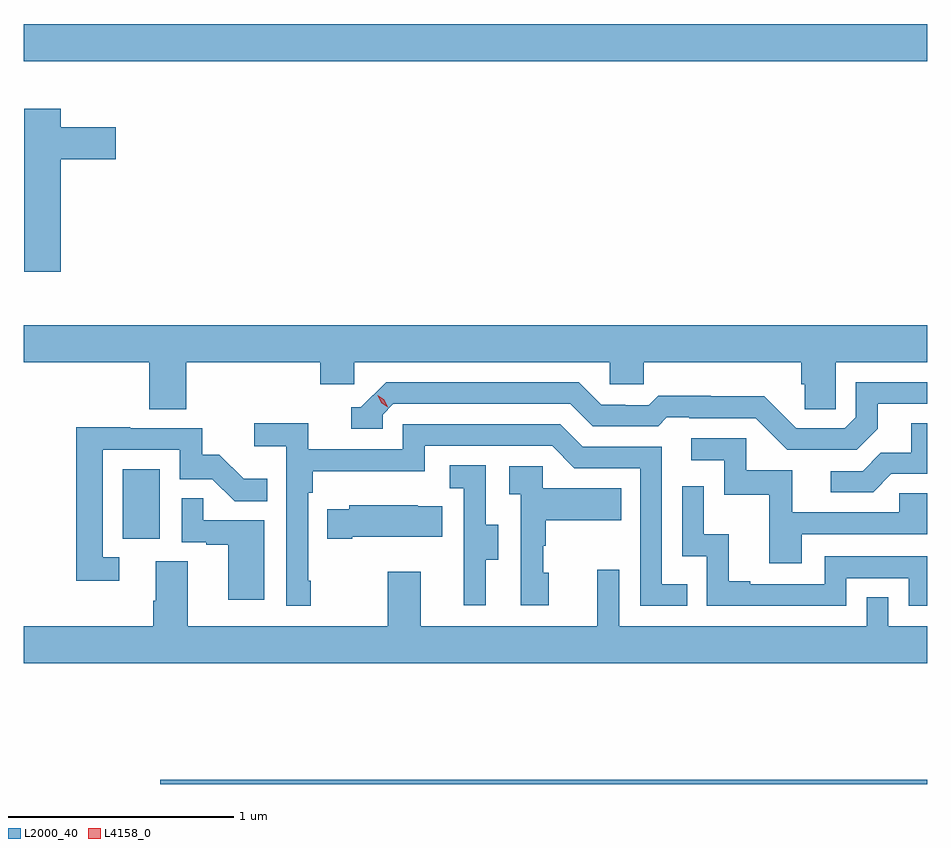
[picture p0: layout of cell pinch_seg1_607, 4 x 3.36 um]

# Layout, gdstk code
import gdstk
lib = gdstk.Library(unit=1e-6, precision=1e-09)
def R(c, l, rs):  # rectangles x0, y0, x1, y1
    for r in rs: c.add(gdstk.rectangle(r[:2], r[2:], *l))
def P(c, l, *ps):  # polygons
    for p in ps: c.add(gdstk.Polygon(p, *l))
L2000_40 = (2000, 40)
L4158_0 = (4158, 0)

pinch_seg1_607 = lib.new_cell('pinch_seg1_607')
R(pinch_seg1_607, L2000_40, [(1114.757,507.241,1118.153,507.26), (1114.592,508.326,1114.756,508.633), (1114.153,510.44,1118.153,510.604)])
P(pinch_seg1_607, L2000_40, [(1114.318,510.005),(1114.561,510.005),(1114.561,510.147),(1114.318,510.147),(1114.318,510.229),(1114.157,510.229),(1114.157,509.508),(1114.318,509.508)],
  [(1114.874,509.108),(1115.465,509.108),(1115.465,509.01),(1115.616,509.01),(1115.616,509.108),(1116.747,509.108),(1116.747,509.01),(1116.897,509.01),(1116.897,509.108),(1117.595,509.108),(1117.595,509.01),(1117.609,509.01),(1117.609,508.9),(1117.746,508.9),(1117.746,509.108),(1118.153,509.108),(1118.153,509.272),(1114.153,509.272),(1114.153,509.108),(1114.709,509.108),(1114.709,508.9),(1114.874,508.9)],
  [(1117.933,508.813),(1117.933,508.923),(1118.153,508.923),(1118.153,509.019),(1117.836,509.019),(1117.836,508.863),(1117.788,508.815),(1117.572,508.815),(1117.43,508.957),(1117.194,508.957),(1117.194,508.96),(1116.961,508.96),(1116.919,508.917),(1116.816,508.917),(1116.816,508.92),(1116.709,508.92),(1116.61,509.019),(1115.757,509.019),(1115.646,508.908),(1115.603,508.908),(1115.603,508.812),(1115.742,508.812),(1115.742,508.875),(1115.79,508.923),(1116.573,508.923),(1116.672,508.824),(1116.961,508.824),(1117,508.863),(1117.099,508.863),(1117.099,508.86),(1117.392,508.86),(1117.533,508.719),(1117.839,508.719)],
  [(1117.993,508.614),(1118.153,508.614),(1118.153,508.838),(1118.081,508.838),(1118.081,508.706),(1117.946,508.706),(1117.866,508.626),(1117.725,508.626),(1117.725,508.533),(1117.912,508.533)],
  [(1115.425,508.141),(1115.412,508.141),(1115.412,508.529),(1115.432,508.529),(1115.432,508.625),(1115.928,508.625),(1115.928,508.737),(1116.492,508.737),(1116.591,508.638),(1116.882,508.638),(1116.882,508.029),(1117.091,508.029),(1117.091,508.125),(1116.978,508.125),(1116.978,508.734),(1116.628,508.734),(1116.529,508.833),(1115.832,508.833),(1115.832,508.722),(1115.414,508.722),(1115.414,508.838),(1115.175,508.838),(1115.175,508.736),(1115.316,508.736),(1115.316,508.029),(1115.425,508.029)],
  [(1114.576,508.245),(1114.503,508.245),(1114.503,508.719),(1114.845,508.719),(1114.845,508.59),(1114.989,508.59),(1115.087,508.492),(1115.231,508.492),(1115.231,508.591),(1115.127,508.591),(1115.02,508.698),(1114.944,508.698),(1114.944,508.815),(1114.625,508.815),(1114.625,508.82),(1114.387,508.82),(1114.387,508.14),(1114.576,508.14)],
  [(1117.597,508.347),(1118.153,508.347),(1118.153,508.527),(1118.029,508.527),(1118.029,508.443),(1117.555,508.443),(1117.555,508.629),(1117.35,508.629),(1117.35,508.77),(1117.107,508.77),(1117.107,508.674),(1117.254,508.674),(1117.254,508.521),(1117.453,508.521),(1117.453,508.218),(1117.597,508.218)],
  [(1116.199,508.234),(1116.253,508.234),(1116.253,508.389),(1116.198,508.389),(1116.198,508.652),(1116.039,508.652),(1116.039,508.549),(1116.102,508.549),(1116.102,508.245),(1116.101,508.245),(1116.101,508.032),(1116.199,508.032)],
  [(1116.478,508.176),(1116.453,508.176),(1116.453,508.295),(1116.463,508.295),(1116.463,508.409),(1116.797,508.409),(1116.797,508.549),(1116.45,508.549),(1116.45,508.647),(1116.303,508.647),(1116.303,508.523),(1116.354,508.523),(1116.354,508.032),(1116.478,508.032)],
  [(1117.794,508.152),(1118.07,508.152),(1118.07,508.029),(1118.153,508.029),(1118.153,508.248),(1117.698,508.248),(1117.698,508.125),(1117.369,508.125),(1117.369,508.138),(1117.274,508.138),(1117.274,508.346),(1117.164,508.346),(1117.164,508.558),(1117.068,508.558),(1117.068,508.248),(1117.176,508.248),(1117.176,508.029),(1117.794,508.029)],
  [(1115.218,508.407),(1114.949,508.407),(1114.949,508.505),(1114.854,508.505),(1114.854,508.311),(1114.961,508.311),(1114.961,508.299),(1115.06,508.299),(1115.06,508.056),(1115.218,508.056)],
  [(1115.608,508.334),(1116.005,508.334),(1116.005,508.471),(1115.897,508.471),(1115.897,508.474),(1115.595,508.474),(1115.595,508.456),(1115.497,508.456),(1115.497,508.327),(1115.608,508.327)],
  [(1118.153,507.94),(1117.98,507.94),(1117.98,508.067),(1117.884,508.067),(1117.884,507.94),(1116.789,507.94),(1116.789,508.189),(1116.692,508.189),(1116.692,507.94),(1115.911,507.94),(1115.911,508.18),(1115.764,508.18),(1115.764,507.94),(1114.879,507.94),(1114.879,508.226),(1114.739,508.226),(1114.739,508.052),(1114.727,508.052),(1114.727,507.94),(1114.153,507.94),(1114.153,507.776),(1118.153,507.776)])
P(pinch_seg1_607, L4158_0, [(1115.765,508.909),(1115.735,508.929),(1115.72,508.961),(1115.72,508.962),(1115.72,508.962),(1115.75,508.942),(1115.765,508.909),(1115.765,508.909)])

lib.write_gds('pinch_seg1_607.gds')
